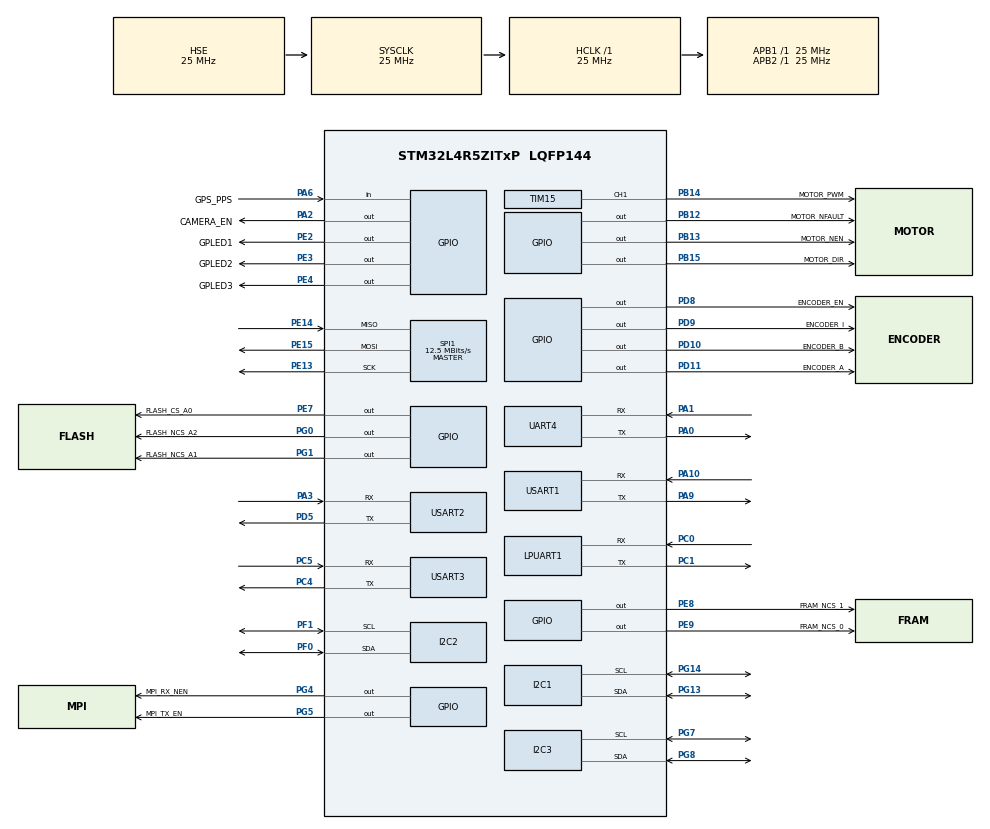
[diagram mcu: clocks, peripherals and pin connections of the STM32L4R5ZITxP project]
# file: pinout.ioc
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I2C1.Timing=0x00606092
I2C2.Timing=0x00606092
I2C3.Timing=0x00606092
LPUART1.WordLength=UART_WORDLENGTH_8B
Mcu.Family=STM32L4
Mcu.Name=STM32L4R5ZITxP
Mcu.Package=LQFP144
NVIC.PriorityGroup=NVIC_PRIORITYGROUP_4
PA0.Mode=Asynchronous
PA0.Signal=UART4_TX
PA1.Mode=Asynchronous
PA1.Signal=UART4_RX
PA10.Mode=Asynchronous
PA10.Signal=USART1_RX
PA13\ (JTMS/SWDIO).Mode=Trace_Asynchronous_SW
PA13\ (JTMS/SWDIO).Signal=SYS_JTMS-SWDIO
PA14\ (JTCK/SWCLK).Mode=Trace_Asynchronous_SW
PA14\ (JTCK/SWCLK).Signal=SYS_JTCK-SWCLK
PA2.GPIO_Label=CAMERA_EN
PA2.Signal=GPIO_Output
PA3.Mode=Asynchronous
PA3.Signal=USART2_RX
PA6.GPIO_Label=GPS_PPS
PA6.Signal=GPIO_Input
PA9.Mode=Asynchronous
PA9.Signal=USART1_TX
PB12.GPIO_Label=MOTOR_NFAULT
PB12.Signal=GPIO_Output
PB13.GPIO_Label=MOTOR_NEN
PB13.Signal=GPIO_Output
PB14.GPIO_Label=MOTOR_PWM
PB14.Signal=S_TIM15_CH1
PB15.GPIO_Label=MOTOR_DIR
PB15.Signal=GPIO_Output
PB3\ (JTDO/TRACESWO).Mode=Trace_Asynchronous_SW
PB3\ (JTDO/TRACESWO).Signal=SYS_JTDO-SWO
PC0.Mode=Asynchronous
PC0.Signal=LPUART1_RX
PC1.Mode=Asynchronous
PC1.Signal=LPUART1_TX
PC4.Mode=Asynchronous
PC4.Signal=USART3_TX
PC5.Mode=Asynchronous
PC5.Signal=USART3_RX
PD10.GPIO_Label=ENCODER_B
PD10.Signal=GPIO_Output
PD11.GPIO_Label=ENCODER_A
PD11.Signal=GPIO_Output
PD5.Mode=Asynchronous
PD5.Signal=USART2_TX
PD8.GPIO_Label=ENCODER_EN
PD8.Signal=GPIO_Output
PD9.GPIO_Label=ENCODER_I
PD9.Signal=GPIO_Output
PE13.Mode=Full_Duplex_Master
PE13.Signal=SPI1_SCK
PE14.Mode=Full_Duplex_Master
PE14.Signal=SPI1_MISO
PE15.Mode=Full_Duplex_Master
PE15.Signal=SPI1_MOSI
PE2.GPIO_Label=GPLED1
PE2.Signal=GPIO_Output
PE3.GPIO_Label=GPLED2
PE3.Signal=GPIO_Output
PE4.GPIO_Label=GPLED3
PE4.Signal=GPIO_Output
PE7.GPIO_Label=FLASH_CS_A0
PE7.Signal=GPIO_Output
PE8.GPIO_Label=FRAM_NCS_1
PE8.Signal=GPIO_Output
PE9.GPIO_Label=FRAM_NCS_0
PE9.Signal=GPIO_Output
PF0.Mode=I2C
PF0.Signal=I2C2_SDA
PF1.Mode=I2C
PF1.Signal=I2C2_SCL
PG0.GPIO_Label=FLASH_NCS_A2
PG0.Signal=GPIO_Output
PG1.GPIO_Label=FLASH_NCS_A1
PG1.Signal=GPIO_Output
PG13.Mode=I2C
PG13.Signal=I2C1_SDA
PG14.Mode=I2C
PG14.Signal=I2C1_SCL
PG4.GPIO_Label=MPI_RX_NEN
PG4.Signal=GPIO_Output
PG5.GPIO_Label=MPI_TX_EN
PG5.Signal=GPIO_Output
PG7.Mode=I2C
PG7.Signal=I2C3_SCL
PG8.Mode=I2C
PG8.Signal=I2C3_SDA
PH0-OSC_IN\ (PH0).Mode=HSE-External-Clock-Source
PH0-OSC_IN\ (PH0).Signal=RCC_OSC_IN
ProjectManager.HeapSize=0x200
ProjectManager.StackSize=0x400
ProjectManager.TargetToolchain=STM32CubeIDE
RCC.ADCFreq_Value=100000000
RCC.AHBFreq_Value=25000000
RCC.APB1Freq_Value=25000000
RCC.APB1TimFreq_Value=25000000
RCC.APB2Freq_Value=25000000
RCC.APB2TimFreq_Value=25000000
RCC.CortexFreq_Value=25000000
RCC.HCLKFreq_Value=25000000
RCC.HSE_VALUE=25000000
RCC.HSI48_VALUE=48000000
RCC.HSI_VALUE=16000000
RCC.LSE_VALUE=32768
RCC.MSI_VALUE=4000000
RCC.PLLSourceVirtual=RCC_PLLSOURCE_HSE
RCC.SYSCLKFreq_VALUE=25000000
RCC.SYSCLKSource=RCC_SYSCLKSOURCE_HSE
RCC.USBFreq_Value=100000000
RCC.VCOOutputFreq_Value=200000000
SH.S_TIM15_CH1.0=TIM15_CH1,PWM Generation1 CH1
SPI1.CalculateBaudRate=12.5 MBits/s
SPI1.Direction=SPI_DIRECTION_2LINES
SPI1.Mode=SPI_MODE_MASTER
SPI1.VirtualType=VM_MASTER
TIM15.Channel-PWM\ Generation1\ CH1=TIM_CHANNEL_1
USART1.VirtualMode-Asynchronous=VM_ASYNC
USART2.VirtualMode-Asynchronous=VM_ASYNC
USART3.VirtualMode-Asynchronous=VM_ASYNC
board=custom

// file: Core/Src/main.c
/* USER CODE BEGIN Header */
/**
  ******************************************************************************
  * @file           : main.c
  * @brief          : Main program body
  ******************************************************************************
  * @attention
  *
  * <h2><center>&copy; Copyright (c) 2022 STMicroelectronics.
  * All rights reserved.</center></h2>
  *
  * This software component is licensed by ST under BSD 3-Clause license,
  * the "License"; You may not use this file except in compliance with the
  * License. You may obtain a copy of the License at:
  *                        opensource.org/licenses/BSD-3-Clause
  *
  ******************************************************************************
  */
/* USER CODE END Header */
#include "main.h"

/* USER CODE BEGIN Includes */

#include <string.h>
#include <stdio.h>

/* USER CODE END Includes */

I2C_HandleTypeDef hi2c1;
I2C_HandleTypeDef hi2c2;
I2C_HandleTypeDef hi2c3;

UART_HandleTypeDef hlpuart1;
UART_HandleTypeDef huart4;
UART_HandleTypeDef huart1;
UART_HandleTypeDef huart2;
UART_HandleTypeDef huart3;

SPI_HandleTypeDef hspi1;

TIM_HandleTypeDef htim15;

void SystemClock_Config(void);
static void MX_GPIO_Init(void);
static void MX_I2C1_Init(void);
static void MX_I2C2_Init(void);
static void MX_I2C3_Init(void);
static void MX_SPI1_Init(void);
static void MX_TIM15_Init(void);
static void MX_UART4_Init(void);
static void MX_USART1_UART_Init(void);
static void MX_USART2_UART_Init(void);
static void MX_USART3_UART_Init(void);
static void MX_LPUART1_UART_Init(void);

int main(void)
{

  /* MCU Configuration--------------------------------------------------------*/

  /* Reset of all peripherals, Initializes the Flash interface and the Systick. */
  HAL_Init();

  /* Configure the system clock */
  SystemClock_Config();

  /* Initialize all configured peripherals */
  MX_GPIO_Init();
  MX_I2C1_Init();
  MX_I2C2_Init();
  MX_I2C3_Init();
  MX_SPI1_Init();
  MX_TIM15_Init();
  MX_UART4_Init();
  MX_USART1_UART_Init();
  MX_USART2_UART_Init();
  MX_USART3_UART_Init();
  MX_LPUART1_UART_Init();
  /* USER CODE BEGIN 2 */

  uint16_t loop_count = 0;

    uint8_t rx_data[200];

    void set_mpi_transceiver_state(mpi_transceiver_state_t new_state) {
        // Note: Can only send or receive at once

    	if (new_state == MPI_TRANSCEIVER_STATE_MISO) {
    	    HAL_GPIO_WritePin(MPI_RX_NEN_GPIO_Port, MPI_RX_NEN_Pin, GPIO_PIN_RESET); // RESET to activate MISO
    	    HAL_GPIO_WritePin(MPI_TX_EN_GPIO_Port, MPI_TX_EN_Pin, GPIO_PIN_RESET); // SET to activate MOSI
    	}
    	else if (new_state == MPI_TRANSCEIVER_STATE_MOSI) {
    	    HAL_GPIO_WritePin(MPI_RX_NEN_GPIO_Port, MPI_RX_NEN_Pin, GPIO_PIN_SET); // RESET to activate MISO
    	    HAL_GPIO_WritePin(MPI_TX_EN_GPIO_Port, MPI_TX_EN_Pin, GPIO_PIN_SET); // SET to activate MOSI
    	}
    	else { // disable
    	    HAL_GPIO_WritePin(MPI_RX_NEN_GPIO_Port, MPI_RX_NEN_Pin, GPIO_PIN_SET); // RESET to activate MISO
    	    HAL_GPIO_WritePin(MPI_TX_EN_GPIO_Port, MPI_TX_EN_Pin, GPIO_PIN_RESET); // SET to activate MOSI
    	}
    }
    // Test Instructions:
    // 1. Load Firmware
    // 2. List with 2 serial terminals (one for Umbilical, one for MPI RS422 faker), both at 115200 baud
    // 3. Confirm that both serial terminals receive a Hello World message.
    // 4. Send text with newline terminator to via the RS422 transmitter

    /* USER CODE END 2 */

    /* Infinite loop */
    /* USER CODE BEGIN WHILE */
    while (1)
    {
  	  // Listen on UART1 (MPI), transmit on LPART1 (Umbilical)
  	  char msg[255];
  	  sprintf(msg, "Hello World over Debug%d\n", loop_count);
  	  HAL_UART_Transmit(&hlpuart1, msg, strlen(msg), 1000);

  	  set_mpi_transceiver_state(MPI_TRANSCEIVER_STATE_MOSI);
  	  sprintf(msg, "Hello World to MPI%d\n", loop_count);
  	  HAL_UART_Transmit(&huart1, msg, strlen(msg), 1000);
  	  loop_count++;

  	    uint8_t received_char;
  	    uint16_t index = 0;

  	  	set_mpi_transceiver_state(MPI_TRANSCEIVER_STATE_MISO);
  	    // Receive data character by character until newline is encountered or the buffer is full
  	    do {
  	        HAL_UART_Receive(&huart1, &received_char, 1, HAL_MAX_DELAY);

  	  	    // toggle debugging LED to show code is running
  	  	    HAL_GPIO_TogglePin(GPIOE, GPIO_PIN_3);

  	        rx_data[index] = received_char;
  	        index++;
  	    } while (received_char != '\n' && index < sizeof(rx_data) - 1); // -1 to leave space for null terminator

  	    // Null-terminate the received data
  	    rx_data[index] = '\0';

  	    // Transmit received data
  	    HAL_UART_Transmit(&hlpuart1, rx_data, strlen((char*)rx_data), HAL_MAX_DELAY);

  	    // toggle debugging LED to show code is running
  	    HAL_GPIO_TogglePin(GPIOE, GPIO_PIN_2);

	  HAL_Delay(1000);
    /* USER CODE END WHILE */

  }
}

void SystemClock_Config(void)
{
  RCC_OscInitTypeDef RCC_OscInitStruct = {0};
  RCC_ClkInitTypeDef RCC_ClkInitStruct = {0};

  /** Configure the main internal regulator output voltage
  */
  if (HAL_PWREx_ControlVoltageScaling(PWR_REGULATOR_VOLTAGE_SCALE1) != HAL_OK)
  {
    Error_Handler();
  }

  /** Initializes the RCC Oscillators according to the specified parameters
  * in the RCC_OscInitTypeDef structure.
  */
  RCC_OscInitStruct.OscillatorType = RCC_OSCILLATORTYPE_HSE;
  RCC_OscInitStruct.HSEState = RCC_HSE_BYPASS;
  RCC_OscInitStruct.PLL.PLLState = RCC_PLL_NONE;
  if (HAL_RCC_OscConfig(&RCC_OscInitStruct) != HAL_OK)
  {
    Error_Handler();
  }

  /** Initializes the CPU, AHB and APB buses clocks
  */
  RCC_ClkInitStruct.ClockType = RCC_CLOCKTYPE_HCLK|RCC_CLOCKTYPE_SYSCLK
                              |RCC_CLOCKTYPE_PCLK1|RCC_CLOCKTYPE_PCLK2;
  RCC_ClkInitStruct.SYSCLKSource = RCC_SYSCLKSOURCE_HSE;
  RCC_ClkInitStruct.AHBCLKDivider = RCC_SYSCLK_DIV1;
  RCC_ClkInitStruct.APB1CLKDivider = RCC_HCLK_DIV1;
  RCC_ClkInitStruct.APB2CLKDivider = RCC_HCLK_DIV1;

  if (HAL_RCC_ClockConfig(&RCC_ClkInitStruct, FLASH_LATENCY_1) != HAL_OK)
  {
    Error_Handler();
  }
}

static void MX_I2C1_Init(void)
{

  hi2c1.Instance = I2C1;
  hi2c1.Init.Timing = 0x00606092;
  hi2c1.Init.OwnAddress1 = 0;
  hi2c1.Init.AddressingMode = I2C_ADDRESSINGMODE_7BIT;
  hi2c1.Init.DualAddressMode = I2C_DUALADDRESS_DISABLE;
  hi2c1.Init.OwnAddress2 = 0;
  hi2c1.Init.OwnAddress2Masks = I2C_OA2_NOMASK;
  hi2c1.Init.GeneralCallMode = I2C_GENERALCALL_DISABLE;
  hi2c1.Init.NoStretchMode = I2C_NOSTRETCH_DISABLE;
  if (HAL_I2C_Init(&hi2c1) != HAL_OK)
  {
    Error_Handler();
  }

  /** Configure Analogue filter
  */
  if (HAL_I2CEx_ConfigAnalogFilter(&hi2c1, I2C_ANALOGFILTER_ENABLE) != HAL_OK)
  {
    Error_Handler();
  }

  /** Configure Digital filter
  */
  if (HAL_I2CEx_ConfigDigitalFilter(&hi2c1, 0) != HAL_OK)
  {
    Error_Handler();
  }

}

static void MX_I2C2_Init(void)
{

  hi2c2.Instance = I2C2;
  hi2c2.Init.Timing = 0x00606092;
  hi2c2.Init.OwnAddress1 = 0;
  hi2c2.Init.AddressingMode = I2C_ADDRESSINGMODE_7BIT;
  hi2c2.Init.DualAddressMode = I2C_DUALADDRESS_DISABLE;
  hi2c2.Init.OwnAddress2 = 0;
  hi2c2.Init.OwnAddress2Masks = I2C_OA2_NOMASK;
  hi2c2.Init.GeneralCallMode = I2C_GENERALCALL_DISABLE;
  hi2c2.Init.NoStretchMode = I2C_NOSTRETCH_DISABLE;
  if (HAL_I2C_Init(&hi2c2) != HAL_OK)
  {
    Error_Handler();
  }

  /** Configure Analogue filter
  */
  if (HAL_I2CEx_ConfigAnalogFilter(&hi2c2, I2C_ANALOGFILTER_ENABLE) != HAL_OK)
  {
    Error_Handler();
  }

  /** Configure Digital filter
  */
  if (HAL_I2CEx_ConfigDigitalFilter(&hi2c2, 0) != HAL_OK)
  {
    Error_Handler();
  }

}

static void MX_I2C3_Init(void)
{

  hi2c3.Instance = I2C3;
  hi2c3.Init.Timing = 0x00606092;
  hi2c3.Init.OwnAddress1 = 0;
  hi2c3.Init.AddressingMode = I2C_ADDRESSINGMODE_7BIT;
  hi2c3.Init.DualAddressMode = I2C_DUALADDRESS_DISABLE;
  hi2c3.Init.OwnAddress2 = 0;
  hi2c3.Init.OwnAddress2Masks = I2C_OA2_NOMASK;
  hi2c3.Init.GeneralCallMode = I2C_GENERALCALL_DISABLE;
  hi2c3.Init.NoStretchMode = I2C_NOSTRETCH_DISABLE;
  if (HAL_I2C_Init(&hi2c3) != HAL_OK)
  {
    Error_Handler();
  }

  /** Configure Analogue filter
  */
  if (HAL_I2CEx_ConfigAnalogFilter(&hi2c3, I2C_ANALOGFILTER_ENABLE) != HAL_OK)
  {
    Error_Handler();
  }

  /** Configure Digital filter
  */
  if (HAL_I2CEx_ConfigDigitalFilter(&hi2c3, 0) != HAL_OK)
  {
    Error_Handler();
  }

}

static void MX_LPUART1_UART_Init(void)
{

  hlpuart1.Instance = LPUART1;
  hlpuart1.Init.BaudRate = 115200;
  hlpuart1.Init.WordLength = UART_WORDLENGTH_8B;
  hlpuart1.Init.StopBits = UART_STOPBITS_1;
  hlpuart1.Init.Parity = UART_PARITY_NONE;
  hlpuart1.Init.Mode = UART_MODE_TX_RX;
  hlpuart1.Init.HwFlowCtl = UART_HWCONTROL_NONE;
  hlpuart1.Init.OneBitSampling = UART_ONE_BIT_SAMPLE_DISABLE;
  hlpuart1.Init.ClockPrescaler = UART_PRESCALER_DIV1;
  hlpuart1.AdvancedInit.AdvFeatureInit = UART_ADVFEATURE_NO_INIT;
  hlpuart1.FifoMode = UART_FIFOMODE_DISABLE;
  if (HAL_UART_Init(&hlpuart1) != HAL_OK)
  {
    Error_Handler();
  }
  if (HAL_UARTEx_SetTxFifoThreshold(&hlpuart1, UART_TXFIFO_THRESHOLD_1_8) != HAL_OK)
  {
    Error_Handler();
  }
  if (HAL_UARTEx_SetRxFifoThreshold(&hlpuart1, UART_RXFIFO_THRESHOLD_1_8) != HAL_OK)
  {
    Error_Handler();
  }
  if (HAL_UARTEx_DisableFifoMode(&hlpuart1) != HAL_OK)
  {
    Error_Handler();
  }

}

static void MX_UART4_Init(void)
{

  huart4.Instance = UART4;
  huart4.Init.BaudRate = 115200;
  huart4.Init.WordLength = UART_WORDLENGTH_8B;
  huart4.Init.StopBits = UART_STOPBITS_1;
  huart4.Init.Parity = UART_PARITY_NONE;
  huart4.Init.Mode = UART_MODE_TX_RX;
  huart4.Init.HwFlowCtl = UART_HWCONTROL_NONE;
  huart4.Init.OverSampling = UART_OVERSAMPLING_16;
  huart4.Init.OneBitSampling = UART_ONE_BIT_SAMPLE_DISABLE;
  huart4.Init.ClockPrescaler = UART_PRESCALER_DIV1;
  huart4.AdvancedInit.AdvFeatureInit = UART_ADVFEATURE_NO_INIT;
  if (HAL_UART_Init(&huart4) != HAL_OK)
  {
    Error_Handler();
  }
  if (HAL_UARTEx_SetTxFifoThreshold(&huart4, UART_TXFIFO_THRESHOLD_1_8) != HAL_OK)
  {
    Error_Handler();
  }
  if (HAL_UARTEx_SetRxFifoThreshold(&huart4, UART_RXFIFO_THRESHOLD_1_8) != HAL_OK)
  {
    Error_Handler();
  }
  if (HAL_UARTEx_DisableFifoMode(&huart4) != HAL_OK)
  {
    Error_Handler();
  }

}

static void MX_USART1_UART_Init(void)
{

  huart1.Instance = USART1;
  huart1.Init.BaudRate = 115200;
  huart1.Init.WordLength = UART_WORDLENGTH_8B;
  huart1.Init.StopBits = UART_STOPBITS_1;
  huart1.Init.Parity = UART_PARITY_NONE;
  huart1.Init.Mode = UART_MODE_TX_RX;
  huart1.Init.HwFlowCtl = UART_HWCONTROL_NONE;
  huart1.Init.OverSampling = UART_OVERSAMPLING_16;
  huart1.Init.OneBitSampling = UART_ONE_BIT_SAMPLE_DISABLE;
  huart1.Init.ClockPrescaler = UART_PRESCALER_DIV1;
  huart1.AdvancedInit.AdvFeatureInit = UART_ADVFEATURE_NO_INIT;
  if (HAL_UART_Init(&huart1) != HAL_OK)
  {
    Error_Handler();
  }
  if (HAL_UARTEx_SetTxFifoThreshold(&huart1, UART_TXFIFO_THRESHOLD_1_8) != HAL_OK)
  {
    Error_Handler();
  }
  if (HAL_UARTEx_SetRxFifoThreshold(&huart1, UART_RXFIFO_THRESHOLD_1_8) != HAL_OK)
  {
    Error_Handler();
  }
  if (HAL_UARTEx_DisableFifoMode(&huart1) != HAL_OK)
  {
    Error_Handler();
  }

}

static void MX_USART2_UART_Init(void)
{

  huart2.Instance = USART2;
  huart2.Init.BaudRate = 115200;
  huart2.Init.WordLength = UART_WORDLENGTH_8B;
  huart2.Init.StopBits = UART_STOPBITS_1;
  huart2.Init.Parity = UART_PARITY_NONE;
  huart2.Init.Mode = UART_MODE_TX_RX;
  huart2.Init.HwFlowCtl = UART_HWCONTROL_NONE;
  huart2.Init.OverSampling = UART_OVERSAMPLING_16;
  huart2.Init.OneBitSampling = UART_ONE_BIT_SAMPLE_DISABLE;
  huart2.Init.ClockPrescaler = UART_PRESCALER_DIV1;
  huart2.AdvancedInit.AdvFeatureInit = UART_ADVFEATURE_NO_INIT;
  if (HAL_UART_Init(&huart2) != HAL_OK)
  {
    Error_Handler();
  }
  if (HAL_UARTEx_SetTxFifoThreshold(&huart2, UART_TXFIFO_THRESHOLD_1_8) != HAL_OK)
  {
    Error_Handler();
  }
  if (HAL_UARTEx_SetRxFifoThreshold(&huart2, UART_RXFIFO_THRESHOLD_1_8) != HAL_OK)
  {
    Error_Handler();
  }
  if (HAL_UARTEx_DisableFifoMode(&huart2) != HAL_OK)
  {
    Error_Handler();
  }

}

static void MX_USART3_UART_Init(void)
{

  huart3.Instance = USART3;
  huart3.Init.BaudRate = 115200;
  huart3.Init.WordLength = UART_WORDLENGTH_8B;
  huart3.Init.StopBits = UART_STOPBITS_1;
  huart3.Init.Parity = UART_PARITY_NONE;
  huart3.Init.Mode = UART_MODE_TX_RX;
  huart3.Init.HwFlowCtl = UART_HWCONTROL_NONE;
  huart3.Init.OverSampling = UART_OVERSAMPLING_16;
  huart3.Init.OneBitSampling = UART_ONE_BIT_SAMPLE_DISABLE;
  huart3.Init.ClockPrescaler = UART_PRESCALER_DIV1;
  huart3.AdvancedInit.AdvFeatureInit = UART_ADVFEATURE_NO_INIT;
  if (HAL_UART_Init(&huart3) != HAL_OK)
  {
    Error_Handler();
  }
  if (HAL_UARTEx_SetTxFifoThreshold(&huart3, UART_TXFIFO_THRESHOLD_1_8) != HAL_OK)
  {
    Error_Handler();
  }
  if (HAL_UARTEx_SetRxFifoThreshold(&huart3, UART_RXFIFO_THRESHOLD_1_8) != HAL_OK)
  {
    Error_Handler();
  }
  if (HAL_UARTEx_DisableFifoMode(&huart3) != HAL_OK)
  {
    Error_Handler();
  }

}

static void MX_SPI1_Init(void)
{

  /* SPI1 parameter configuration*/
  hspi1.Instance = SPI1;
  hspi1.Init.Mode = SPI_MODE_MASTER;
  hspi1.Init.Direction = SPI_DIRECTION_2LINES;
  hspi1.Init.DataSize = SPI_DATASIZE_4BIT;
  hspi1.Init.CLKPolarity = SPI_POLARITY_LOW;
  hspi1.Init.CLKPhase = SPI_PHASE_1EDGE;
  hspi1.Init.NSS = SPI_NSS_SOFT;
  hspi1.Init.BaudRatePrescaler = SPI_BAUDRATEPRESCALER_2;
  hspi1.Init.FirstBit = SPI_FIRSTBIT_MSB;
  hspi1.Init.TIMode = SPI_TIMODE_DISABLE;
  hspi1.Init.CRCCalculation = SPI_CRCCALCULATION_DISABLE;
  hspi1.Init.CRCPolynomial = 7;
  hspi1.Init.CRCLength = SPI_CRC_LENGTH_DATASIZE;
  hspi1.Init.NSSPMode = SPI_NSS_PULSE_ENABLE;
  if (HAL_SPI_Init(&hspi1) != HAL_OK)
  {
    Error_Handler();
  }

}

static void MX_TIM15_Init(void)
{

  TIM_MasterConfigTypeDef sMasterConfig = {0};
  TIM_OC_InitTypeDef sConfigOC = {0};
  TIM_BreakDeadTimeConfigTypeDef sBreakDeadTimeConfig = {0};

  htim15.Instance = TIM15;
  htim15.Init.Prescaler = 0;
  htim15.Init.CounterMode = TIM_COUNTERMODE_UP;
  htim15.Init.Period = 65535;
  htim15.Init.ClockDivision = TIM_CLOCKDIVISION_DIV1;
  htim15.Init.RepetitionCounter = 0;
  htim15.Init.AutoReloadPreload = TIM_AUTORELOAD_PRELOAD_DISABLE;
  if (HAL_TIM_PWM_Init(&htim15) != HAL_OK)
  {
    Error_Handler();
  }
  sMasterConfig.MasterOutputTrigger = TIM_TRGO_RESET;
  sMasterConfig.MasterSlaveMode = TIM_MASTERSLAVEMODE_DISABLE;
  if (HAL_TIMEx_MasterConfigSynchronization(&htim15, &sMasterConfig) != HAL_OK)
  {
    Error_Handler();
  }
  sConfigOC.OCMode = TIM_OCMODE_PWM1;
  sConfigOC.Pulse = 0;
  sConfigOC.OCPolarity = TIM_OCPOLARITY_HIGH;
  sConfigOC.OCNPolarity = TIM_OCNPOLARITY_HIGH;
  sConfigOC.OCFastMode = TIM_OCFAST_DISABLE;
  sConfigOC.OCIdleState = TIM_OCIDLESTATE_RESET;
  sConfigOC.OCNIdleState = TIM_OCNIDLESTATE_RESET;
  if (HAL_TIM_PWM_ConfigChannel(&htim15, &sConfigOC, TIM_CHANNEL_1) != HAL_OK)
  {
    Error_Handler();
  }
  sBreakDeadTimeConfig.OffStateRunMode = TIM_OSSR_DISABLE;
  sBreakDeadTimeConfig.OffStateIDLEMode = TIM_OSSI_DISABLE;
  sBreakDeadTimeConfig.LockLevel = TIM_LOCKLEVEL_OFF;
  sBreakDeadTimeConfig.DeadTime = 0;
  sBreakDeadTimeConfig.BreakState = TIM_BREAK_DISABLE;
  sBreakDeadTimeConfig.BreakPolarity = TIM_BREAKPOLARITY_HIGH;
  sBreakDeadTimeConfig.AutomaticOutput = TIM_AUTOMATICOUTPUT_DISABLE;
  if (HAL_TIMEx_ConfigBreakDeadTime(&htim15, &sBreakDeadTimeConfig) != HAL_OK)
  {
    Error_Handler();
  }
  HAL_TIM_MspPostInit(&htim15);

}

static void MX_GPIO_Init(void)
{
  GPIO_InitTypeDef GPIO_InitStruct = {0};

  /* GPIO Ports Clock Enable */
  __HAL_RCC_GPIOE_CLK_ENABLE();
  __HAL_RCC_GPIOF_CLK_ENABLE();
  __HAL_RCC_GPIOH_CLK_ENABLE();
  __HAL_RCC_GPIOC_CLK_ENABLE();
  __HAL_RCC_GPIOA_CLK_ENABLE();
  __HAL_RCC_GPIOG_CLK_ENABLE();
  __HAL_RCC_GPIOB_CLK_ENABLE();
  __HAL_RCC_GPIOD_CLK_ENABLE();
  HAL_PWREx_EnableVddIO2();

  /*Configure GPIO pin Output Level */
  HAL_GPIO_WritePin(GPIOE, GPLED1_Pin|GPLED2_Pin|GPLED3_Pin|FLASH_CS_A0_Pin
                          |FRAM_NCS_1_Pin|FRAM_NCS_0_Pin, GPIO_PIN_RESET);

  /*Configure GPIO pin Output Level */
  HAL_GPIO_WritePin(CAMERA_EN_GPIO_Port, CAMERA_EN_Pin, GPIO_PIN_RESET);

  /*Configure GPIO pin Output Level */
  HAL_GPIO_WritePin(GPIOG, FLASH_NCS_A2_Pin|FLASH_NCS_A1_Pin|MPI_RX_NEN_Pin|MPI_TX_EN_Pin, GPIO_PIN_RESET);

  /*Configure GPIO pin Output Level */
  HAL_GPIO_WritePin(GPIOB, MOTOR_NFAULT_Pin|MOTOR_NEN_Pin|MOTOR_DIR_Pin, GPIO_PIN_RESET);

  /*Configure GPIO pin Output Level */
  HAL_GPIO_WritePin(GPIOD, ENCODER_EN_Pin|ENCODER_I_Pin|ENCODER_B_Pin|ENCODER_A_Pin, GPIO_PIN_RESET);

  /*Configure GPIO pins : GPLED1_Pin GPLED2_Pin GPLED3_Pin FLASH_CS_A0_Pin
                           FRAM_NCS_1_Pin FRAM_NCS_0_Pin */
  GPIO_InitStruct.Pin = GPLED1_Pin|GPLED2_Pin|GPLED3_Pin|FLASH_CS_A0_Pin
                          |FRAM_NCS_1_Pin|FRAM_NCS_0_Pin;
  GPIO_InitStruct.Mode = GPIO_MODE_OUTPUT_PP;
  GPIO_InitStruct.Pull = GPIO_NOPULL;
  GPIO_InitStruct.Speed = GPIO_SPEED_FREQ_LOW;
  HAL_GPIO_Init(GPIOE, &GPIO_InitStruct);

  /*Configure GPIO pin : CAMERA_EN_Pin */
  GPIO_InitStruct.Pin = CAMERA_EN_Pin;
  GPIO_InitStruct.Mode = GPIO_MODE_OUTPUT_PP;
  GPIO_InitStruct.Pull = GPIO_NOPULL;
  GPIO_InitStruct.Speed = GPIO_SPEED_FREQ_LOW;
  HAL_GPIO_Init(CAMERA_EN_GPIO_Port, &GPIO_InitStruct);

  /*Configure GPIO pin : GPS_PPS_Pin */
  GPIO_InitStruct.Pin = GPS_PPS_Pin;
  GPIO_InitStruct.Mode = GPIO_MODE_INPUT;
  GPIO_InitStruct.Pull = GPIO_NOPULL;
  HAL_GPIO_Init(GPS_PPS_GPIO_Port, &GPIO_InitStruct);

  /*Configure GPIO pins : FLASH_NCS_A2_Pin FLASH_NCS_A1_Pin MPI_RX_NEN_Pin MPI_TX_EN_Pin */
  GPIO_InitStruct.Pin = FLASH_NCS_A2_Pin|FLASH_NCS_A1_Pin|MPI_RX_NEN_Pin|MPI_TX_EN_Pin;
  GPIO_InitStruct.Mode = GPIO_MODE_OUTPUT_PP;
  GPIO_InitStruct.Pull = GPIO_NOPULL;
  GPIO_InitStruct.Speed = GPIO_SPEED_FREQ_LOW;
  HAL_GPIO_Init(GPIOG, &GPIO_InitStruct);

  /*Configure GPIO pins : MOTOR_NFAULT_Pin MOTOR_NEN_Pin MOTOR_DIR_Pin */
  GPIO_InitStruct.Pin = MOTOR_NFAULT_Pin|MOTOR_NEN_Pin|MOTOR_DIR_Pin;
  GPIO_InitStruct.Mode = GPIO_MODE_OUTPUT_PP;
  GPIO_InitStruct.Pull = GPIO_NOPULL;
  GPIO_InitStruct.Speed = GPIO_SPEED_FREQ_LOW;
  HAL_GPIO_Init(GPIOB, &GPIO_InitStruct);

  /*Configure GPIO pins : ENCODER_EN_Pin ENCODER_I_Pin ENCODER_B_Pin ENCODER_A_Pin */
  GPIO_InitStruct.Pin = ENCODER_EN_Pin|ENCODER_I_Pin|ENCODER_B_Pin|ENCODER_A_Pin;
  GPIO_InitStruct.Mode = GPIO_MODE_OUTPUT_PP;
  GPIO_InitStruct.Pull = GPIO_NOPULL;
  GPIO_InitStruct.Speed = GPIO_SPEED_FREQ_LOW;
  HAL_GPIO_Init(GPIOD, &GPIO_InitStruct);

}

void Error_Handler(void)
{
  __disable_irq();
  while (1)
  {
  }
}
